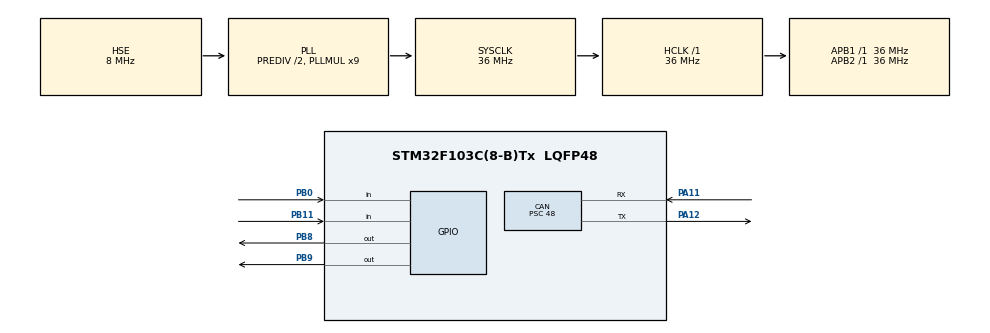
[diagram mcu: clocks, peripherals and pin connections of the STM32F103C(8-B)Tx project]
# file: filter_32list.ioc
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CAN.BS1=CAN_BS1_3TQ
CAN.BS2=CAN_BS2_2TQ
CAN.CalculateBaudRate=124999
CAN.CalculateTimeBit=8000
CAN.CalculateTimeQuantum=1333.3333333333335
CAN.Mode=CAN_MODE_LOOPBACK
CAN.Prescaler=48
CAN.SJW=CAN_SJW_2TQ
Mcu.Family=STM32F1
Mcu.Name=STM32F103C(8-B)Tx
Mcu.Package=LQFP48
NVIC.PriorityGroup=NVIC_PRIORITYGROUP_4
PA11.Mode=CAN_Activate
PA11.Signal=CAN_RX
PA12.Mode=CAN_Activate
PA12.Signal=CAN_TX
PA13.Mode=Serial_Wire
PA13.Signal=SYS_JTMS-SWDIO
PA14.Mode=Serial_Wire
PA14.Signal=SYS_JTCK-SWCLK
PB0.GPIO_PuPd=GPIO_PULLUP
PB0.Signal=GPIO_Input
PB11.GPIO_PuPd=GPIO_PULLUP
PB11.Signal=GPIO_Input
PB8.GPIO_ModeDefaultOutputPP=GPIO_MODE_OUTPUT_OD
PB8.GPIO_PuPd=GPIO_NOPULL
PB8.Signal=GPIO_Output
PB9.GPIO_ModeDefaultOutputPP=GPIO_MODE_OUTPUT_OD
PB9.GPIO_PuPd=GPIO_NOPULL
PB9.PinState=GPIO_PIN_RESET
PB9.Signal=GPIO_Output
PC14-OSC32_IN.Mode=LSE-External-Oscillator
PC14-OSC32_IN.Signal=RCC_OSC32_IN
PC15-OSC32_OUT.Mode=LSE-External-Oscillator
PC15-OSC32_OUT.Signal=RCC_OSC32_OUT
PD0-OSC_IN.Mode=HSE-External-Oscillator
PD0-OSC_IN.Signal=RCC_OSC_IN
PD1-OSC_OUT.Mode=HSE-External-Oscillator
PD1-OSC_OUT.Signal=RCC_OSC_OUT
ProjectManager.HeapSize=0x200
ProjectManager.StackSize=0x400
ProjectManager.TargetToolchain=STM32CubeIDE
RCC.AHBFreq_Value=36000000
RCC.APB1Freq_Value=36000000
RCC.APB1TimFreq_Value=36000000
RCC.APB2Freq_Value=36000000
RCC.APB2TimFreq_Value=36000000
RCC.HCLKFreq_Value=36000000
RCC.HSEDivPLL=RCC_HSE_PREDIV_DIV2
RCC.PLLMUL=RCC_PLL_MUL9
RCC.PLLSourceVirtual=RCC_PLLSOURCE_HSE
RCC.SYSCLKFreq_VALUE=36000000
RCC.SYSCLKSource=RCC_SYSCLKSOURCE_PLLCLK
RCC.USBFreq_Value=36000000
board=custom

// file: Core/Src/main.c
/* USER CODE BEGIN Header */
/**
 ******************************************************************************
 * @file           : main.c
 * @brief          : Main program body
 ******************************************************************************
 * @attention
 *
 * Copyright (c) 2026 STMicroelectronics.
 * All rights reserved.
 *
 * This software is licensed under terms that can be found in the LICENSE file
 * in the root directory of this software component.
 * If no LICENSE file comes with this software, it is provided AS-IS.
 *
 ******************************************************************************
 */
/* USER CODE END Header */
#include "main.h"
#include "can.h"
#include "gpio.h"

/* USER CODE BEGIN Includes */
#include "OLED.h"
#include "Key.h"
/* USER CODE END Includes */

/* USER CODE BEGIN PV */
uint8_t KeyNum = 0;
//uint32_t TxID = 0x222;
//uint8_t TxLength = 4;
uint8_t TxDataArray[7][8] = { { 0x11, 0x22, 0x33, 0x44 }, { 0xaa, 0xbb, 0xcc,
		0xdd }, { 0x11, 0x22, 0x33, 0x44 }, { 0xaa, 0xbb, 0xcc, 0xdd }, { 0xaa,
		0xbb, 0xcc, 0xdd }, { 0x11, 0x22, 0x33, 0x44 },
		{ 0xaa, 0xbb, 0xcc, 0xdd },

};

CAN_TxHeaderTypeDef TxMsgArray[7] = { { .StdId = 0x123, .ExtId = 0x00000000,
		.IDE = CAN_ID_STD, .RTR = CAN_RTR_DATA, .DLC = 4 }, { .StdId = 0x234,
		.ExtId = 0x00000000, .IDE = CAN_ID_STD, .RTR = CAN_RTR_DATA, .DLC = 4 },
		{ .StdId = 0x345, .ExtId = 0x00000000, .IDE = CAN_ID_STD, .RTR =
				CAN_RTR_DATA, .DLC = 4 }, { .StdId = 0x456, .ExtId = 0x00000000,
				.IDE = CAN_ID_STD, .RTR = CAN_RTR_DATA, .DLC = 4 }, { .StdId =
				0x000, .ExtId = 0x12345678, .IDE = CAN_ID_EXT, .RTR =
				CAN_RTR_DATA, .DLC = 4 }, { .StdId = 0x000, .ExtId = 0x0789ABCD,
				.IDE = CAN_ID_EXT, .RTR = CAN_RTR_DATA, .DLC = 4 }, { 0 } };

uint8_t pTxMsgArray = 0;

//uint32_t RxID;
//uint8_t RxLength;
uint8_t RxData[8] = { 0 };
CAN_RxHeaderTypeDef RxMsg = { 0 };

/* USER CODE END PV */

void SystemClock_Config(void);

int main(void) {

	/* MCU Configuration--------------------------------------------------------*/

	/* Reset of all peripherals, Initializes the Flash interface and the Systick. */
	HAL_Init();

	/* Configure the system clock */
	SystemClock_Config();

	/* Initialize all configured peripherals */
	MX_GPIO_Init();
	MX_CAN_Init();
	/* USER CODE BEGIN 2 */
	OLED_Init();

	OLED_ShowString(1, 1, "Rx :");
	OLED_ShowString(2, 1, "RxID:");
	OLED_ShowString(3, 1, "Leng:");
	OLED_ShowString(4, 1, "Data:");
	/* USER CODE END 2 */

	/* Infinite loop */
	/* USER CODE BEGIN WHILE */
	while (1) {
		KeyNum = Key_GetNum();

		if (KeyNum == 1) {
			MyCAN_Transmit(TxMsgArray[pTxMsgArray], TxDataArray[pTxMsgArray]);
			pTxMsgArray++;
			pTxMsgArray %= 6;
		}

		if (MyCAN_ReceiveFlag()) {
			MyCAN_Receive(&RxMsg, RxData);

			if (RxMsg.IDE == CAN_ID_STD) {
				OLED_ShowString(1, 6, "Std");
				OLED_ShowHexNum(2, 6, RxMsg.StdId, 8);

			} else if (RxMsg.IDE == CAN_ID_EXT) {
				OLED_ShowString(1, 6, "Ext");
				OLED_ShowHexNum(2, 6, RxMsg.ExtId, 8);
			}

			if (RxMsg.RTR == CAN_RTR_DATA) {
				OLED_ShowString(1, 10, "Data  ");
				OLED_ShowHexNum(3, 6, RxMsg.DLC, 1);
				OLED_ShowHexNum(4, 6, RxData[0], 2);
				OLED_ShowHexNum(4, 9, RxData[1], 2);
				OLED_ShowHexNum(4, 12, RxData[2], 2);
				OLED_ShowHexNum(4, 15, RxData[3], 2);
			} else if (RxMsg.RTR == CAN_RTR_REMOTE) {
				OLED_ShowString(1, 10, "Remote");
				OLED_ShowHexNum(3, 6, RxMsg.DLC, 1);
				OLED_ShowHexNum(4, 6, 0x00, 2);
				OLED_ShowHexNum(4, 9, 0x00, 2);
				OLED_ShowHexNum(4, 12, 0x00, 2);
				OLED_ShowHexNum(4, 15, 0x00, 2);
			}

		}
		/* USER CODE END WHILE */

	}
}

void SystemClock_Config(void) {
	RCC_OscInitTypeDef RCC_OscInitStruct = { 0 };
	RCC_ClkInitTypeDef RCC_ClkInitStruct = { 0 };

	/** Initializes the RCC Oscillators according to the specified parameters
	 * in the RCC_OscInitTypeDef structure.
	 */
	RCC_OscInitStruct.OscillatorType = RCC_OSCILLATORTYPE_HSE;
	RCC_OscInitStruct.HSEState = RCC_HSE_ON;
	RCC_OscInitStruct.HSEPredivValue = RCC_HSE_PREDIV_DIV2;
	RCC_OscInitStruct.HSIState = RCC_HSI_ON;
	RCC_OscInitStruct.PLL.PLLState = RCC_PLL_ON;
	RCC_OscInitStruct.PLL.PLLSource = RCC_PLLSOURCE_HSE;
	RCC_OscInitStruct.PLL.PLLMUL = RCC_PLL_MUL9;
	if (HAL_RCC_OscConfig(&RCC_OscInitStruct) != HAL_OK) {
		Error_Handler();
	}

	/** Initializes the CPU, AHB and APB buses clocks
	 */
	RCC_ClkInitStruct.ClockType = RCC_CLOCKTYPE_HCLK | RCC_CLOCKTYPE_SYSCLK
			| RCC_CLOCKTYPE_PCLK1 | RCC_CLOCKTYPE_PCLK2;
	RCC_ClkInitStruct.SYSCLKSource = RCC_SYSCLKSOURCE_PLLCLK;
	RCC_ClkInitStruct.AHBCLKDivider = RCC_SYSCLK_DIV1;
	RCC_ClkInitStruct.APB1CLKDivider = RCC_HCLK_DIV1;
	RCC_ClkInitStruct.APB2CLKDivider = RCC_HCLK_DIV1;

	if (HAL_RCC_ClockConfig(&RCC_ClkInitStruct, FLASH_LATENCY_1) != HAL_OK) {
		Error_Handler();
	}
}

void Error_Handler(void) {
	__disable_irq();
	while (1) {
	}
}
